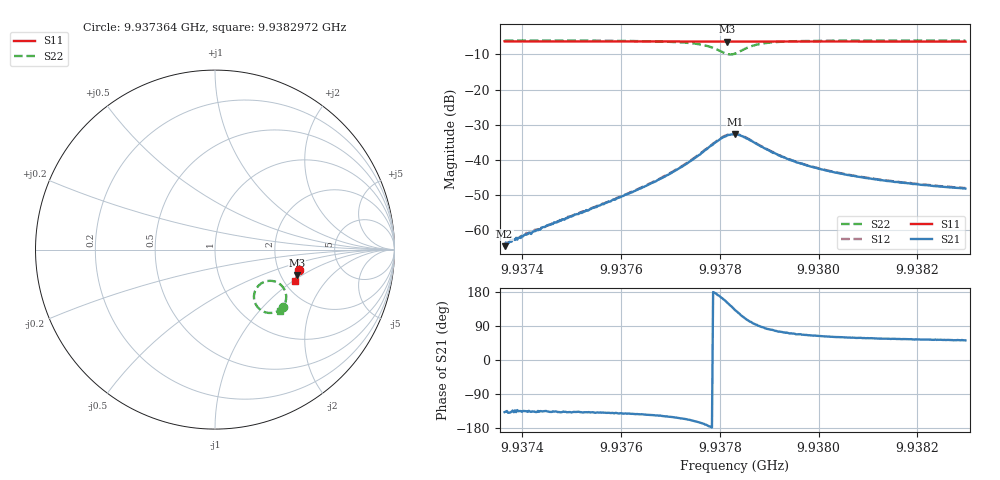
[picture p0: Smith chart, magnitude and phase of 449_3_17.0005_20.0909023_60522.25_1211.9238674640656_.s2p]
#  HZ  S  RI  R  50.00
! Rohde & Schwarz Vector Network Analyzer
! Rohde-Schwarz,ZNB20-2Port,1311601062101988,3.16
! Created: UTC 3/20/2024, 11:12:12 PM
! freq[Hz]  re:S11  im:S11  re:S21  im:S21  re:S12  im:S12  re:S22  im:S22
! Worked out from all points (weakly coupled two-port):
!   401 points, 9.937364 GHz to 9.9382972 GHz, reference 50 ohm
!   highest |S21| = -32.72 dB at 9.9378306 GHz (marker M1); lowest = -64.5 dB at 9.937364 GHz (marker M2)
!   lowest |S11| = -6.4 dB at 9.9378143 GHz (marker M3), VSWR 2.84, Z = 123 - j45 ohm
!   |S11| at or under -10 dB: nowhere
!   |S22| runs from -10.0 to -6.1 dB; largest |S21 - S12| = 0.00092
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9.93736403e9  0.47 -0.1127  -0.00044 -0.000402  -0.000471 -0.000414  0.38 -0.3208
9.93737103e9  0.4699 -0.1132  -0.0005 -0.000429  -0.000515 -0.000432  0.3795 -0.3215
9.93740836e9  0.4691 -0.1157  -0.000616 -0.000612  -0.000671 -0.000628  0.3764 -0.3243
9.93752034e9  0.4665 -0.1232  -0.00131 -0.00119  -0.00138 -0.00121  0.3648 -0.3337
9.93761133e9  0.4644 -0.1292  -0.00255 -0.00202  -0.00259 -0.00201  0.3498 -0.3428
9.93767666e9  0.4628 -0.1338  -0.00444 -0.00286  -0.00454 -0.00286  0.3308 -0.3502
9.93772565e9  0.4613 -0.137  -0.00745 -0.00349  -0.00763 -0.00347  0.3033 -0.3531
9.93776765e9  0.4596 -0.1398  -0.013 -0.00264  -0.0134 -0.00236  0.2588 -0.3393
9.93779098e9  0.4584 -0.141  -0.0177 0.00118  -0.0178 0.00172  0.2263 -0.3032
9.93780498e9  0.4578 -0.1412  -0.0198 0.00606  -0.02 0.00665  0.2169 -0.2626
9.93781431e9  0.4573 -0.1415  -0.0197 0.0103  -0.0198 0.011  0.2237 -0.2297
9.93782131e9  0.4573 -0.1415  -0.0183 0.0135  -0.0184 0.0143  0.2375 -0.2063
9.93783064e9  0.4574 -0.1416  -0.0154 0.0172  -0.0153 0.0178  0.266 -0.1836
9.9378423e9  0.4576 -0.142  -0.0105 0.0194  -0.0101 0.0199  0.3074 -0.1738
9.9378563e9  0.4579 -0.1427  -0.00523 0.0192  -0.00463 0.0196  0.3485 -0.1839
9.93788197e9  0.4581 -0.1446  0.000418 0.0157  0.000806 0.0159  0.3861 -0.2209
9.93793096e9  0.4572 -0.1485  0.00319 0.0103  0.00345 0.0103  0.3967 -0.2701
9.93798695e9  0.4559 -0.1524  0.00341 0.00718  0.00355 0.00717  0.3911 -0.2968
9.93805461e9  0.4541 -0.1569  0.00312 0.00536  0.00327 0.00538  0.3829 -0.314
9.93814327e9  0.4518 -0.1628  0.00279 0.00415  0.00289 0.00412  0.374 -0.3268
9.93824592e9  0.4489 -0.1693  0.0025 0.00337  0.00261 0.00336  0.3655 -0.3371
9.93829725e9  0.4475 -0.1727  0.00242 0.00308  0.0025 0.00311  0.3616 -0.3413
